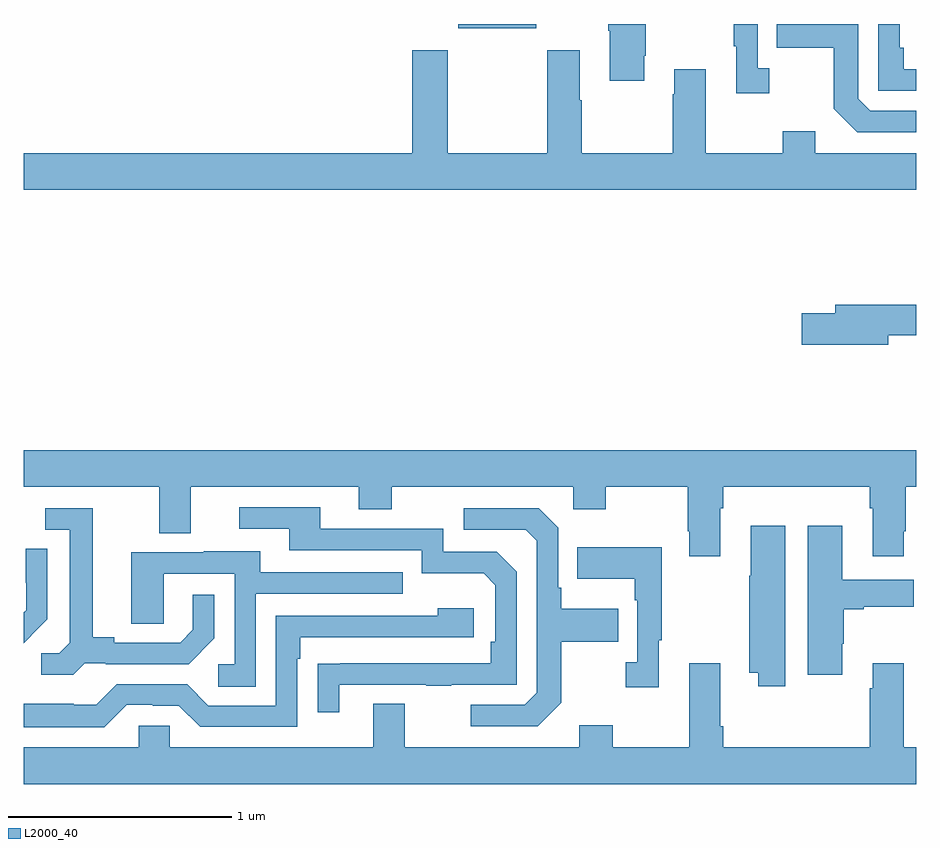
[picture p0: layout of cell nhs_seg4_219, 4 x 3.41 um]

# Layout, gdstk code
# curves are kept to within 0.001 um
import gdstk
lib = gdstk.Library(unit=1e-6, precision=1e-09)
def R(c, l, rs):  # rectangles x0, y0, x1, y1
    for r in rs: c.add(gdstk.rectangle(r[:2], r[2:], *l))
def P(c, l, *ps):  # polygons
    for p in ps: c.add(gdstk.Polygon(p, *l))
L2000_40 = (2000, 40)

nhs_seg4_219 = lib.new_cell('nhs_seg4_219')
R(nhs_seg4_219, L2000_40, [(122.948,794.882,123.298,794.9)])
P(nhs_seg4_219, L2000_40, [(125,794.511),(124.794,794.511),(124.74,794.565),(124.74,794.9),(124.375,794.9),(124.375,794.794),(124.632,794.794),(124.632,794.521),(124.737,794.415),(125,794.415)],
  [(124.342,794.702),(124.29,794.702),(124.29,794.9),(124.182,794.9),(124.182,794.801),(124.193,794.801),(124.193,794.589),(124.342,794.589)],
  [(123.781,794.758),(123.789,794.758),(123.789,794.9),(123.619,794.9),(123.619,794.869),(123.626,794.869),(123.626,794.646),(123.781,794.646)],
  [(125,794.697),(124.946,794.697),(124.946,794.794),(124.926,794.794),(124.926,794.9),(124.83,794.9),(124.83,794.601),(125,794.601)],
  [(125,794.32),(124.549,794.32),(124.549,794.419),(124.402,794.419),(124.402,794.32),(124.057,794.32),(124.057,794.698),(123.917,794.698),(123.917,794.585),(123.91,794.585),(123.91,794.32),(123.501,794.32),(123.501,794.558),(123.493,794.558),(123.493,794.782),(123.346,794.782),(123.346,794.32),(122.901,794.32),(122.901,794.782),(122.741,794.782),(122.741,794.32),(121,794.32),(121,794.156),(125,794.156)],
  [(124.876,793.504),(125,793.504),(125,793.64),(124.637,793.64),(124.637,793.604),(124.488,793.604),(124.488,793.462),(124.876,793.462)],
  [(124.123,792.728),(124.136,792.728),(124.136,792.824),(124.793,792.824),(124.793,792.728),(124.805,792.728),(124.805,792.513),(124.945,792.513),(124.945,792.625),(124.953,792.625),(124.953,792.824),(125,792.824),(125,792.988),(121,792.988),(121,792.824),(121.607,792.824),(121.607,792.616),(121.747,792.616),(121.747,792.824),(122.501,792.824),(122.501,792.725),(122.649,792.725),(122.649,792.824),(123.462,792.824),(123.462,792.725),(123.609,792.725),(123.609,792.824),(123.976,792.824),(123.976,792.625),(123.983,792.625),(123.983,792.513),(124.123,792.513)],
  [(122.413,791.937),(122.803,791.937),(122.803,791.932),(122.915,791.932),(122.915,791.937),(123.21,791.937),(123.21,792.444),(123.12,792.534),(122.88,792.534),(122.88,792.636),(122.329,792.636),(122.329,792.732),(121.965,792.732),(121.965,792.636),(122.189,792.636),(122.189,792.54),(122.784,792.54),(122.784,792.437),(123.061,792.437),(123.114,792.384),(123.114,792.13),(123.094,792.13),(123.094,792.033),(122.317,792.032),(122.317,791.814),(122.413,791.814)],
  [(121.272,792.033),(121.366,792.033),(121.366,792.03),(121.738,792.03),(121.854,792.146),(121.854,792.34),(121.757,792.34),(121.757,792.183),(121.7,792.126),(121.405,792.126),(121.405,792.149),(121.309,792.149),(121.309,792.729),(121.095,792.729),(121.095,792.633),(121.205,792.633),(121.205,792.125),(121.158,792.078),(121.077,792.078),(121.077,791.981),(121.22,791.981)],
  [(123.409,791.857),(123.409,792.13),(123.665,792.13),(123.665,792.277),(123.409,792.277),(123.409,792.373),(123.396,792.373),(123.396,792.642),(123.309,792.729),(122.973,792.729),(122.973,792.633),(123.249,792.633),(123.3,792.582),(123.3,791.901),(123.246,791.847),(123.003,791.847),(123.003,791.751),(123.303,791.751)],
  [(124.414,792.649),(124.259,792.649),(124.259,792.425),(124.252,792.425),(124.252,791.99),(124.292,791.99),(124.292,791.931),(124.414,791.931)],
  [(124.669,792.121),(124.677,792.121),(124.677,792.275),(124.765,792.275),(124.765,792.287),(124.99,792.287),(124.99,792.409),(124.669,792.409),(124.669,792.649),(124.514,792.649),(124.514,791.982),(124.669,791.982)],
  [(123.847,792.137),(123.859,792.137),(123.859,792.553),(123.481,792.553),(123.481,792.413),(123.738,792.413),(123.738,792.317),(123.75,792.317),(123.75,792.038),(123.699,792.038),(123.699,791.925),(123.847,791.925)],
  [(121.032,792.156),(121.031,792.157),(121.104,792.23),(121.104,792.548),(121.008,792.548),(121.008,792.394),(121.01,792.394),(121.01,792.272),(121,792.262),(121,792.124)],
  [(122.04,792.345),(122.699,792.345),(122.699,792.441),(122.059,792.441),(122.059,792.535),(121.805,792.535),(121.805,792.531),(121.481,792.531),(121.481,792.211),(121.626,792.211),(121.626,792.435),(121.944,792.435),(121.944,792.03),(121.872,792.03),(121.872,791.929),(122.04,791.929)],
  [(121.461,791.847),(121.577,791.847),(121.577,791.844),(121.695,791.844),(121.791,791.748),(122.226,791.748),(122.226,792.053),(122.239,792.053),(122.239,792.15),(123.016,792.15),(123.016,792.28),(122.855,792.28),(122.855,792.246),(122.13,792.246),(122.13,791.844),(121.827,791.844),(121.731,791.94),(121.416,791.94),(121.323,791.847),(121.223,791.847),(121.223,791.851),(121,791.851),(121,791.747),(121.361,791.747)],
  [(125,791.656),(124.945,791.656),(124.945,792.034),(124.805,792.034),(124.805,791.921),(124.793,791.921),(124.793,791.656),(124.136,791.656),(124.136,791.752),(124.123,791.752),(124.123,792.034),(123.983,792.034),(123.983,791.656),(123.639,791.656),(123.639,791.755),(123.491,791.755),(123.491,791.656),(122.707,791.656),(122.707,791.851),(122.567,791.851),(122.567,791.656),(121.653,791.656),(121.653,791.754),(121.515,791.754),(121.515,791.656),(121,791.656),(121,791.492),(125,791.492)])

lib.write_gds('nhs_seg4_219.gds')
